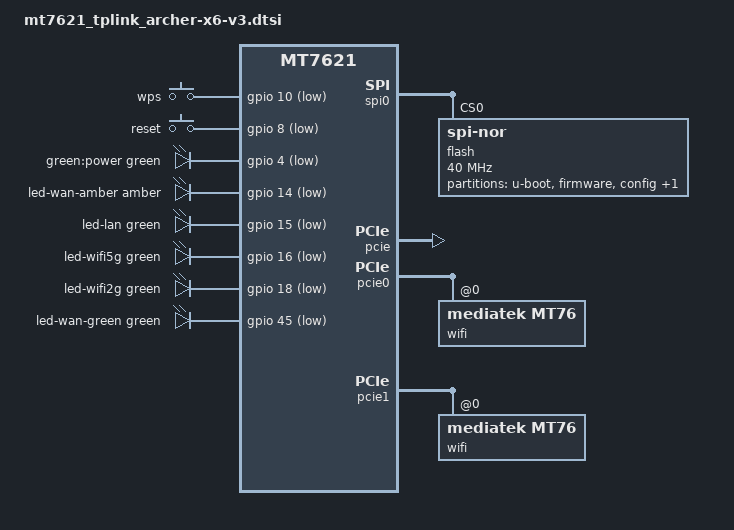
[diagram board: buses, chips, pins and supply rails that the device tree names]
// SPDX-License-Identifier: GPL-2.0-only

#include "mt7621.dtsi"

#include <dt-bindings/gpio/gpio.h>
#include <dt-bindings/input/input.h>
#include <dt-bindings/leds/common.h>

/ {
	aliases {
		label-mac-device = &gmac0;
		led-boot = &led_power;
		led-failsafe = &led_power;
		led-running = &led_power;
		led-upgrade = &led_power;
	};

	chosen {
		bootargs = "console=ttyS0,115200n8";
	};

	keys {
		compatible = "gpio-keys";

		button-wps {
			label = "wps";
			gpios = <&gpio 10 GPIO_ACTIVE_LOW>;
			debounce-interval = <60>;
			linux,code = <KEY_WPS_BUTTON>;
		};

		button-reset {
			label = "reset";
			gpios = <&gpio 8 GPIO_ACTIVE_LOW>;
			debounce-interval = <60>;
			linux,code = <KEY_RESTART>;
		};
	};

	leds {
		compatible = "gpio-leds";

		led_power: led-power {
			label = "green:power";
			color = <LED_COLOR_ID_GREEN>;
			function = LED_FUNCTION_POWER;
			gpios = <&gpio 4 GPIO_ACTIVE_LOW>;
		};

		led-wan-amber {
			color = <LED_COLOR_ID_AMBER>;
			function = LED_FUNCTION_WAN;
			gpios = <&gpio 14 GPIO_ACTIVE_LOW>;
		};

		led-lan {
			color = <LED_COLOR_ID_GREEN>;
			function = LED_FUNCTION_LAN;
			gpios = <&gpio 15 GPIO_ACTIVE_LOW>;
		};

		led-wifi5g {
			color = <LED_COLOR_ID_GREEN>;
			function = LED_FUNCTION_WLAN;
			function-enumerator = <5>;
			gpios = <&gpio 16 GPIO_ACTIVE_LOW>;
			linux,default-trigger = "phy1tpt";
		};

		led-wifi2g {
			color = <LED_COLOR_ID_GREEN>;
			function = LED_FUNCTION_WLAN;
			function-enumerator = <2>;
			gpios = <&gpio 18 GPIO_ACTIVE_LOW>;
			linux,default-trigger = "phy0tpt";
		};

		led-wan-green {
			color = <LED_COLOR_ID_GREEN>;
			function = LED_FUNCTION_WAN;
			gpios = <&gpio 45 GPIO_ACTIVE_LOW>;
		};
	};
};

&spi0 {
	status = "okay";

	flash@0 {
		compatible = "jedec,spi-nor";
		reg = <0>;
		spi-max-frequency = <40000000>;

		partitions {
			compatible = "fixed-partitions";
			#address-cells = <1>;
			#size-cells = <1>;

			partition@0 {
				label = "u-boot";
				reg = <0x0 0x40000>;
				read-only;
			};

			partition@40000 {
				label = "firmware";
				compatible = "denx,uimage";
				reg = <0x40000 0xf60000>;
			};

			config: partition@fa0000 {
				compatible = "nvmem-cells";
				label = "config";
				reg = <0xfa0000 0x50000>;
				#address-cells = <1>;
				#size-cells = <1>;
				read-only;

				macaddr_config_8: macaddr@8 {
					reg = <0x8 0x6>;
				};
			};

			radio: partition@ff0000 {
				compatible = "nvmem-cells";
				label = "radio";
				reg = <0xff0000 0x10000>;
				#address-cells = <1>;
				#size-cells = <1>;
				read-only;

				eeprom_radio_0: eeprom@0 {
					reg = <0x0 0x400>;
				};

				eeprom_radio_8000: eeprom@8000 {
					reg = <0x8000 0x4da8>;
				};
			};
		};
	};
};

&state_default {
	gpio {
		groups =  "i2c", "rgmii2", "uart2", "uart3", "jtag", "wdt";
		function = "gpio";
	};
};

&pcie {
	status = "okay";
};

&pcie0 {
	wifi@0,0 {
		compatible = "mediatek,mt76";
		reg = <0x0000 0 0 0 0>;
		nvmem-cells = <&eeprom_radio_0>, <&macaddr_config_8>;
		nvmem-cell-names = "eeprom", "mac-address";
		mac-address-increment = <1>;
		ieee80211-freq-limit = <2400000 2500000>;
	};
};

&pcie1 {
	wifi@0,0 {
		compatible = "mediatek,mt76";
		reg = <0x0000 0 0 0 0>;
		nvmem-cells = <&eeprom_radio_8000>, <&macaddr_config_8>;
		nvmem-cell-names = "eeprom", "mac-address";
		mac-address-increment = <2>;
		ieee80211-freq-limit = <5000000 6000000>;
	};
};

&ethernet {
	pinctrl-0 = <&mdio_pins>, <&rgmii1_pins>;
};

&gmac0 {
	nvmem-cells = <&macaddr_config_8>;
	nvmem-cell-names = "mac-address";
};

&switch0 {
	ports {
		port@0 {
			status = "okay";
			label = "wan";
		};

		port@1 {
			status = "okay";
			label = "lan1";
		};

		port@2 {
			status = "okay";
			label = "lan2";
		};

		port@3 {
			status = "okay";
			label = "lan3";
		};

		port@4 {
			status = "okay";
			label = "lan4";
		};
	};
};
